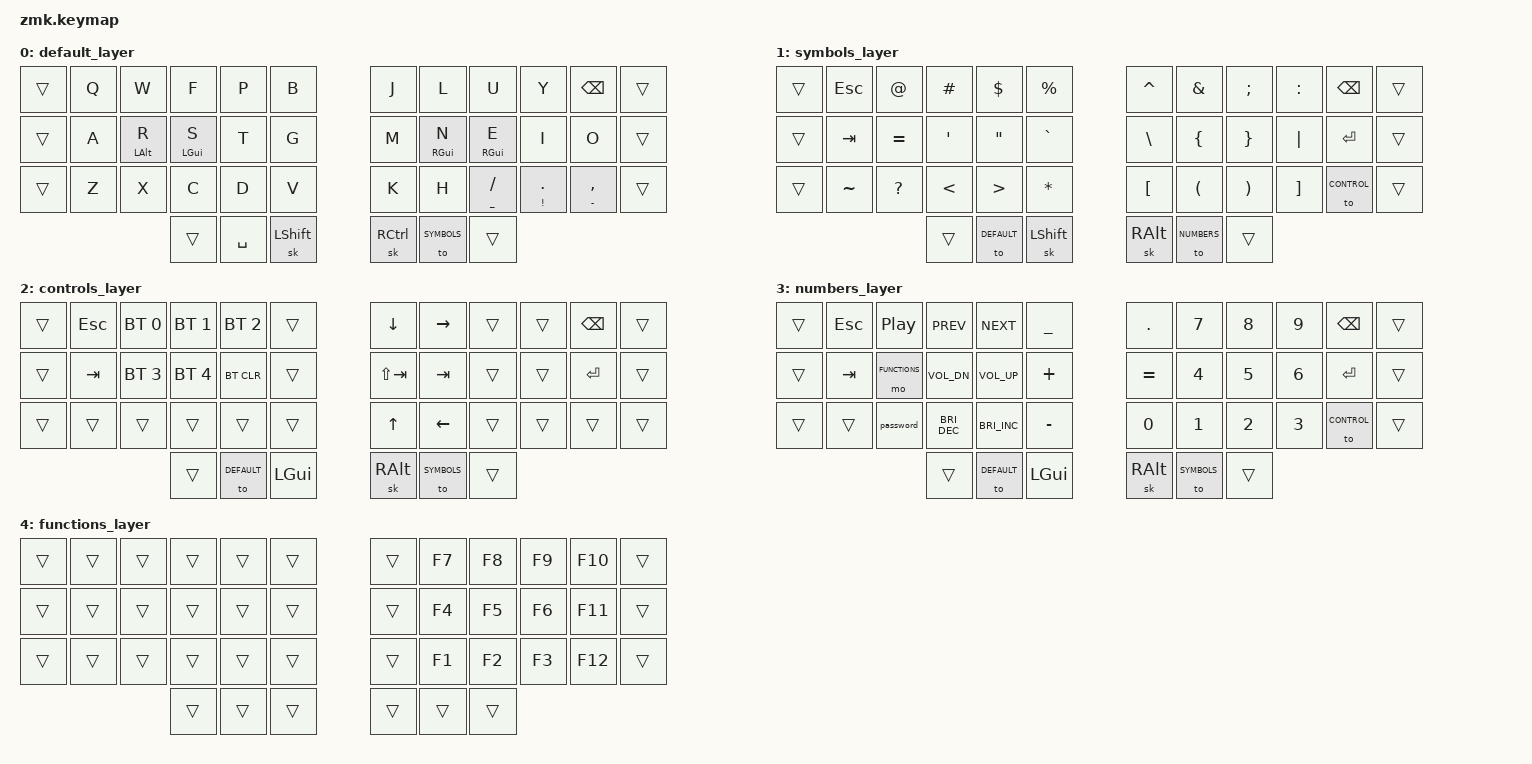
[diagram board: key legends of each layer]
/*
 * Copyright (c) 2020 The ZMK Contributors
 *
 * SPDX-License-Identifier: MIT
 */

#include <behaviors.dtsi>
#include <dt-bindings/zmk/keys.h>
#include <dt-bindings/zmk/bt.h>

#define DEFAULT 0
#define SYMBOLS 1
#define CONTROL 2
#define NUMBERS 3
#define FUNCTIONS 4

&mt {
    flavor = "tap-preferred";
    tapping_term_ms = <200>;
};

/ {

        macros {
                password: password {
                        label = "password";
                        compatible = "zmk,behavior-macro";
                        #binding-cells = <0>;
                        wait-ms = <40>;
                        tap-ms = <40>;
                        bindings
                                = <&macro_tap &kp EXCL>
                                , <&macro_tap &kp EXCL>
                                ;
                };
        };

        behaviors {
                hm: homerow_mods {
                    compatible = "zmk,behavior-hold-tap";
                    label = "HOMEROW_MODS";
                    #binding-cells = <2>;
                    tapping-term-ms = <200>;
                    quick_tap_ms = <0>;
                    flavor = "tap-preferred";
                    bindings = <&kp>, <&kp>;
                };
                td: tapdance {
                    compatible = "zmk,behavior-hold-tap";
                    label = "TAPDANCE";
                    #binding-cells = <2>;
                    tapping-term-ms = <150>;
                    quick_tap_ms = <0>;
                    flavor = "tap-preferred";
                    bindings = <&kp>, <&kp>;
                };
        };

        keymap {
                compatible = "zmk,keymap";

                default_layer {
                bindings = <
                &trans  &kp Q  &kp W       &kp F       &kp P  &kp B    &kp J  &kp L       &kp U                  &kp Y         &kp BKSP         &trans
                &trans  &kp A  &hm LALT R  &hm LGUI S  &kp T  &kp G    &kp M  &hm RGUI N  &hm RGUI E             &kp I         &kp O            &trans
                &trans  &kp Z  &kp X       &kp C       &kp D  &kp V    &kp K  &kp H       &td UNDERSCORE SLASH   &td EXCL DOT  &td MINUS COMMA  &trans
                                       &trans  &kp SPACE  &sk LSHFT    &sk RCTRL  &to SYMBOLS  &trans
                >;
                };

                symbols_layer {
                bindings = <
                &trans  &kp ESC    &kp AT     &kp HASH  &kp DLLR  &kp PRCNT    &kp CARET  &kp AMPS  &kp SEMI  &kp COLON  &kp BKSP     &trans
                &trans  &kp TAB    &kp EQUAL  &kp SQT   &kp DQT   &kp GRAVE    &kp BSLH   &kp LBRC  &kp RBRC  &kp PIPE   &kp ENTER    &trans
                &trans  &kp TILDE  &kp QMARK  &kp LT    &kp GT    &kp STAR     &kp LBKT   &kp LPAR  &kp RPAR  &kp RBKT   &to CONTROL  &trans
                                             &trans  &to DEFAULT  &sk LSHFT    &sk RALT  &to NUMBERS  &trans
                >;
                };      

                controls_layer {
                bindings = <
                &trans  &kp ESC  &bt BT_SEL 0  &bt BT_SEL 1  &bt BT_SEL 2  &trans    &kp DOWN     &kp RIGHT  &trans  &trans  &kp BKSP   &trans
                &trans  &kp TAB  &bt BT_SEL 3  &bt BT_SEL 4  &bt BT_CLR    &trans    &kp LS(TAB)  &kp TAB    &trans  &trans  &kp ENTER  &trans
                &trans  &trans   &trans        &trans        &trans        &trans    &kp UP       &kp LEFT   &trans  &trans  &trans     &trans
                                                    &trans  &to DEFAULT  &kp LGUI    &sk RALT  &to SYMBOLS  &trans
                >;
                };

                numbers_layer {
                bindings = <
                &trans  &kp ESC  &kp C_PP       &kp C_PREV     &kp C_NEXT     &kp UNDER    &kp DOT    &kp N7  &kp N8  &kp N9  &kp BKSP     &trans
                &trans  &kp TAB  &mo FUNCTIONS  &kp C_VOL_DN   &kp C_VOL_UP   &kp PLUS     &kp EQUAL  &kp N4  &kp N5  &kp N6  &kp ENTER    &trans
                &trans  &trans   &password      &kp C_BRI_DEC  &kp C_BRI_INC  &kp MINUS    &kp N0     &kp N1  &kp N2  &kp N3  &to CONTROL  &trans
                                                          &trans  &to DEFAULT  &kp LGUI    &sk RALT  &to SYMBOLS  &trans
                >;
                };

                functions_layer {
                bindings = <
                &trans  &trans  &trans  &trans  &trans  &trans    &trans  &kp F7  &kp F8  &kp F9  &kp F10  &trans
                &trans  &trans  &trans  &trans  &trans  &trans    &trans  &kp F4  &kp F5  &kp F6  &kp F11  &trans
                &trans  &trans  &trans  &trans  &trans  &trans    &trans  &kp F1  &kp F2  &kp F3  &kp F12  &trans
                                        &trans  &trans  &trans    &trans  &trans  &trans
                >;
                };
        };
};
